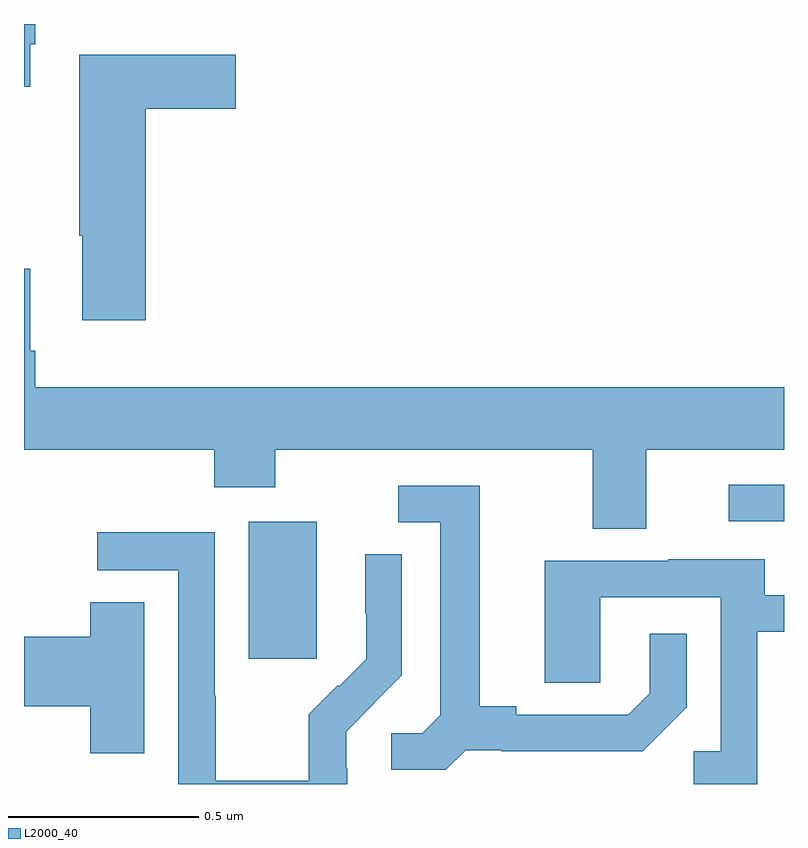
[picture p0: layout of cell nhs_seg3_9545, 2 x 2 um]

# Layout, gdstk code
import gdstk
lib = gdstk.Library(unit=1e-6, precision=1e-09)
def R(c, l, rs):  # rectangles x0, y0, x1, y1
    for r in rs: c.add(gdstk.rectangle(r[:2], r[2:], *l))
def P(c, l, *ps):  # polygons
    for p in ps: c.add(gdstk.Polygon(p, *l))
L2000_40 = (2000, 40)

nhs_seg3_9545 = lib.new_cell('nhs_seg3_9545')
R(nhs_seg3_9545, L2000_40, [(230.591,669.729,230.77,670.09), (231.855,670.092,232,670.188)])
P(nhs_seg3_9545, L2000_40, [(230.017,671.347),(230.03,671.347),(230.03,671.4),(230,671.4),(230,671.235),(230.017,671.235)],
  [(230.321,671.177),(230.557,671.177),(230.557,671.319),(230.146,671.319),(230.146,670.843),(230.153,670.843),(230.153,670.62),(230.321,670.62)],
  [(231.637,670.28),(232,670.28),(232,670.444),(230.03,670.444),(230.03,670.54),(230.017,670.54),(230.017,670.756),(230,670.756),(230,670.28),(230.501,670.28),(230.501,670.181),(230.661,670.181),(230.661,670.28),(231.497,670.28),(231.497,670.072),(231.637,670.072)],
  [(231.162,669.489),(231.256,669.489),(231.256,669.486),(231.628,669.486),(231.744,669.602),(231.744,669.796),(231.647,669.796),(231.647,669.639),(231.59,669.582),(231.295,669.582),(231.295,669.605),(231.199,669.605),(231.199,670.185),(230.985,670.185),(230.985,670.089),(231.095,670.089),(231.095,669.581),(231.048,669.534),(230.967,669.534),(230.967,669.437),(231.11,669.437)],
  [(230.85,669.441),(230.848,669.441),(230.848,669.538),(230.922,669.612),(230.921,669.613),(230.994,669.686),(230.994,670.004),(230.898,670.004),(230.898,669.85),(230.9,669.85),(230.9,669.728),(230.829,669.657),(230.826,669.66),(230.749,669.583),(230.749,669.409),(230.505,669.409),(230.505,669.632),(230.502,669.632),(230.502,670.062),(230.193,670.062),(230.193,669.963),(230.406,669.963),(230.406,669.4),(230.85,669.4)],
  [(231.93,669.801),(232,669.801),(232,669.897),(231.949,669.897),(231.949,669.991),(231.695,669.991),(231.695,669.987),(231.371,669.987),(231.371,669.667),(231.516,669.667),(231.516,669.891),(231.834,669.891),(231.834,669.486),(231.762,669.486),(231.762,669.4),(231.93,669.4)],
  [(230.317,669.878),(230.174,669.878),(230.174,669.788),(230,669.788),(230,669.605),(230.174,669.605),(230.174,669.481),(230.317,669.481)])

lib.write_gds('nhs_seg3_9545.gds')
